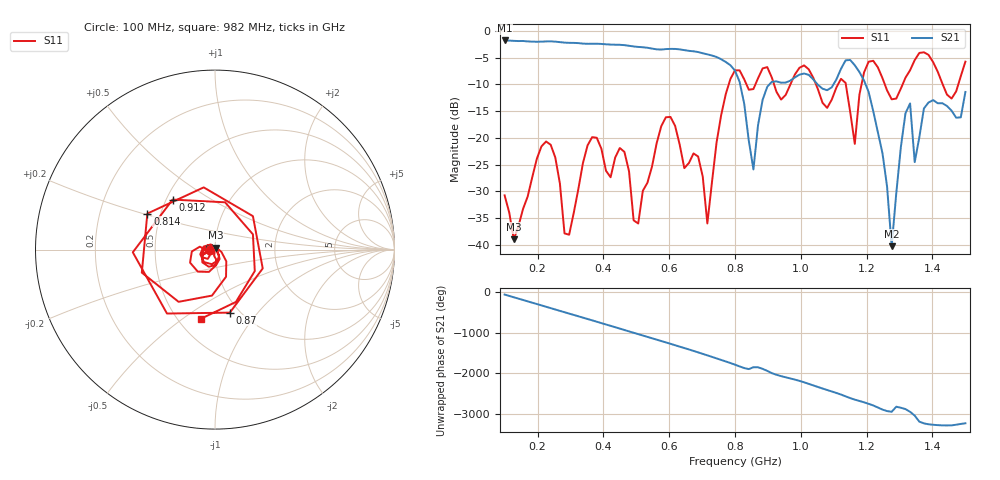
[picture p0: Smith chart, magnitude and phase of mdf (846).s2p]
! NanoVNA-App
! Date: 2025-09-25 15:45:00
! Start: 100MHz Stop: 1,5GHz Points: 101
! S-Parameter data: F S11 S21 S12 S22
# Hz S RI R 50
!  Frequency  S11_Real  S11_Imag  S21_Real  S21_Imag  S12_Real  S12_Imag  S22_Real  S22_Imag
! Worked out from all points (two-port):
!   101 points, 100 MHz to 1.5 GHz, reference 50 ohm
!   highest |S21| = -1.80 dB at 100 MHz (marker M1); lowest = -40.2 dB at 1.276 GHz (marker M2)
!   |S21| within 3 dB of the highest: start of sweep to 739.5 MHz
!   lowest |S11| = -39.0 dB at 128 MHz (marker M3), VSWR 1.02, Z = 50.3 + j1.08 ohm
!   |S11| at or under -10 dB: start of sweep to 781 MHz; 918.6 MHz to 968.4 MHz (49.79 MHz wide, 5.28 % of centre); 1.046 GHz to 1.113 GHz (67.24 MHz wide, 6.23 % of centre) (the widest 3 of 7)
!   S12 and S22 are empty: the file has one direction only
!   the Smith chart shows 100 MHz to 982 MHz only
!   S11 on the Smith chart (normalised r, x): 100 MHz: 0.94, -0.01; 814 MHz: 0.42, +0.21; 870 MHz: 0.90, -0.73; 912 MHz: 0.54, +0.35; 982 MHz: 0.65, -0.59
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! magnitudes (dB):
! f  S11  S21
! 100 MHz  -30.7  -1.8
! 128 MHz  -39.0  -1.9
! 212 MHz  -21.6  -2.0
! 282 MHz  -37.8  -2.2
! 338 MHz  -24.7  -2.4
! 464 MHz  -22.6  -2.7
! 506 MHz  -36.0  -3.0
! 576 MHz  -17.8  -3.5
! 716 MHz  -36.0  -4.4
! 800 MHz  -7.4  -7.4
! 814 MHz  -7.4  -9.5
! 856 MHz  -10.9  -25.9
! 870 MHz  -8.9  -17.6
! 912 MHz  -8.7  -9.5
! 982 MHz  -8.2  -8.7
! 1.038 GHz  -8.8  -9.1
! 1.164 GHz  -21.1  -6.4
! 1.192 GHz  -7.8  -9.3
! 1.276 GHz  -12.8  -40.2
! 1.332 GHz  -7.4  -13.6
! 1.346 GHz  -5.5  -24.5
! 1.5 GHz  -5.8  -11.4
